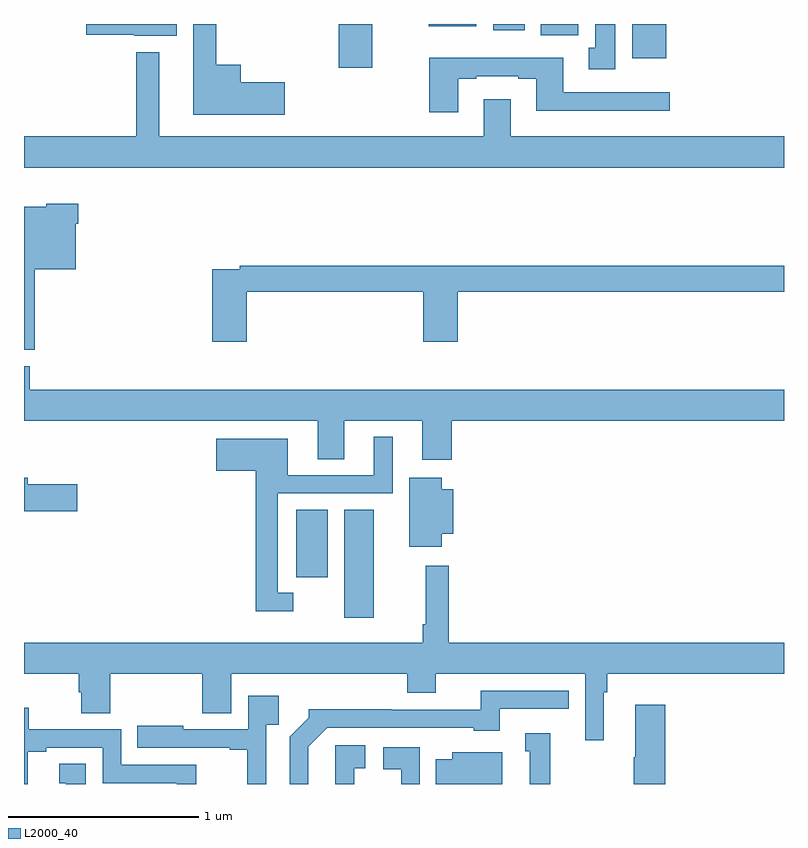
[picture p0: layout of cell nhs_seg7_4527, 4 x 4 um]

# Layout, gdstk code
import gdstk
lib = gdstk.Library(unit=1e-6, precision=1e-09)
def R(c, l, rs):  # rectangles x0, y0, x1, y1
    for r in rs: c.add(gdstk.rectangle(r[:2], r[2:], *l))
def P(c, l, *ps):  # polygons
    for p in ps: c.add(gdstk.Polygon(p, *l))
L2000_40 = (2000, 40)

nhs_seg7_4527 = lib.new_cell('nhs_seg7_4527')
R(nhs_seg7_4527, L2000_40, [(396.686,1036.875,396.841,1037.444), (396.434,1037.088,396.598,1037.444), (396.656,1039.77,396.834,1040), (398.201,1039.82,398.38,1040), (397.721,1039.94,397.918,1040), (397.469,1039.968,397.636,1040), (397.13,1039.988,397.381,1040)])
P(nhs_seg7_4527, L2000_40, [(396.373,1039.694),(396.142,1039.694),(396.142,1039.786),(396.013,1039.786),(396.013,1040),(395.891,1040),(395.891,1039.523),(396.373,1039.523)],
  [(395.803,1040),(395.328,1040),(395.328,1039.943),(395.58,1039.943),(395.58,1039.937),(395.803,1039.937)],
  [(398.113,1040),(398.006,1040),(398.006,1039.874),(397.973,1039.874),(397.973,1039.761),(398.113,1039.761)],
  [(399,1039.408),(397.561,1039.408),(397.561,1039.603),(397.421,1039.603),(397.421,1039.408),(395.713,1039.408),(395.713,1039.852),(395.592,1039.852),(395.592,1039.408),(395,1039.408),(395,1039.244),(399,1039.244)],
  [(397.285,1039.713),(397.381,1039.713),(397.381,1039.725),(397.601,1039.725),(397.601,1039.713),(397.697,1039.713),(397.697,1039.544),(398.398,1039.544),(398.398,1039.641),(397.837,1039.641),(397.837,1039.822),(397.133,1039.822),(397.133,1039.536),(397.285,1039.536)],
  [(395.057,1038.71),(395.272,1038.71),(395.272,1038.95),(395.285,1038.95),(395.285,1039.054),(395.118,1039.054),(395.118,1039.039),(395,1039.039),(395,1038.285),(395.057,1038.285)],
  [(396.173,1038.592),(397.1,1038.592),(397.1,1038.327),(397.283,1038.327),(397.283,1038.592),(399,1038.592),(399,1038.728),(396.136,1038.728),(396.136,1038.708),(395.99,1038.708),(395.99,1038.327),(396.173,1038.327)],
  [(397.25,1037.912),(399,1037.912),(399,1038.076),(395.03,1038.076),(395.03,1038.2),(395,1038.2),(395,1037.912),(396.545,1037.912),(396.545,1037.71),(396.685,1037.71),(396.685,1037.912),(397.097,1037.912),(397.097,1037.706),(397.25,1037.706)],
  [(396.418,1037.007),(396.336,1037.007),(396.336,1037.529),(396.94,1037.529),(396.94,1037.827),(396.842,1037.827),(396.842,1037.625),(396.388,1037.625),(396.388,1037.818),(396.012,1037.818),(396.012,1037.648),(396.22,1037.648),(396.22,1036.91),(396.418,1036.91)],
  [(395.281,1037.577),(395.02,1037.577),(395.02,1037.611),(395,1037.611),(395,1037.435),(395.281,1037.435)],
  [(397.199,1037.318),(397.258,1037.318),(397.258,1037.551),(397.199,1037.551),(397.199,1037.611),(397.028,1037.611),(397.028,1037.25),(397.199,1037.25)],
  [(398.05,1036.484),(398.069,1036.484),(398.069,1036.58),(399,1036.58),(399,1036.744),(397.235,1036.744),(397.235,1037.149),(397.114,1037.149),(397.114,1036.84),(397.099,1036.84),(397.099,1036.744),(395,1036.744),(395,1036.58),(395.288,1036.58),(395.288,1036.482),(395.3,1036.482),(395.3,1036.372),(395.453,1036.372),(395.453,1036.58),(395.939,1036.58),(395.939,1036.372),(396.091,1036.372),(396.091,1036.58),(397.016,1036.58),(397.016,1036.481),(397.168,1036.481),(397.168,1036.58),(397.953,1036.58),(397.953,1036.23),(398.05,1036.23)],
  [(396.496,1036.195),(396.597,1036.296),(397.368,1036.296),(397.368,1036.28),(397.504,1036.28),(397.504,1036.395),(397.868,1036.395),(397.868,1036.491),(397.405,1036.491),(397.405,1036.392),(396.932,1036.392),(396.932,1036.394),(396.498,1036.394),(396.498,1036.349),(396.399,1036.25),(396.399,1036),(396.496,1036)],
  [(396.276,1036.313),(396.341,1036.313),(396.341,1036.465),(396.18,1036.465),(396.18,1036.287),(395.839,1036.287),(395.839,1036.306),(395.596,1036.306),(395.596,1036.191),(396.083,1036.191),(396.083,1036.179),(396.175,1036.179),(396.175,1036),(396.276,1036)],
  [(398.375,1036.417),(398.216,1036.417),(398.216,1036.142),(398.209,1036.142),(398.209,1036),(398.375,1036)],
  [(395.02,1036.171),(395.116,1036.171),(395.116,1036.191),(395.415,1036.191),(395.415,1036.005),(395.805,1036.005),(395.805,1036),(395.906,1036),(395.906,1036.101),(395.511,1036.101),(395.511,1036.287),(395.024,1036.287),(395.024,1036.401),(395,1036.401),(395,1036),(395.02,1036)],
  [(397.771,1036.267),(397.637,1036.267),(397.637,1036.173),(397.661,1036.173),(397.661,1036),(397.771,1036)],
  [(396.738,1036.083),(396.796,1036.083),(396.796,1036.204),(396.638,1036.204),(396.638,1036),(396.738,1036)],
  [(397.083,1036.194),(396.891,1036.194),(396.891,1036.078),(396.985,1036.078),(396.985,1036),(397.083,1036)],
  [(397.516,1036.168),(397.253,1036.168),(397.253,1036.129),(397.168,1036.129),(397.168,1036),(397.516,1036)],
  [(395.326,1036.106),(395.186,1036.106),(395.186,1036.003),(395.219,1036.003),(395.219,1036),(395.326,1036)])

lib.write_gds('nhs_seg7_4527.gds')
